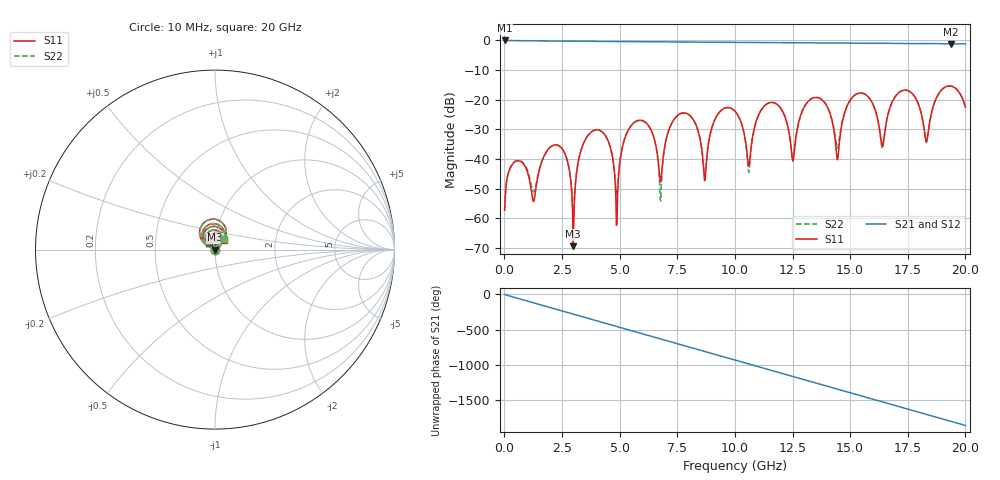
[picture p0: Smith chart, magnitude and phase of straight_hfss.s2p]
! Solver applicability map - 40 x 16 mm symmetric stripline
! Case: straight_hfss
! Sweep: 10 MHz - 20 GHz, 25 MHz step, 4 cores
# GHz S MA R 50.000000
! Terminal data exported
! Port[1] = U1.PAD1.SIG
! Port[2] = U2.PAD1.SIG
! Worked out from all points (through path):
!   801 points, 10 MHz to 20 GHz, reference 50 ohm
!   highest |S21| = -0.01 dB at 10 MHz (marker M1); lowest = -1.2 dB at 19.39 GHz (marker M2)
!   group delay of S21, straight-line fit = 258 ps
!   lowest |S11| = -69.4 dB at 2.985 GHz (marker M3), VSWR 1.00, Z = 50 - j0.0264 ohm
!   |S11| at or under -10 dB: start of sweep to end of sweep
!   |S22| runs from -60.2 to -15.4 dB; largest |S21 - S12| = 1.3e-11
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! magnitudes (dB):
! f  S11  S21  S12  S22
! 10 MHz  -57.3  0.0  0.0  -57.3
! 2.235 GHz  -35.2  -0.2  -0.2  -35.3
! 2.985 GHz  -69.4  -0.3  -0.3  -60.2
! 3.36 GHz  -36.2  -0.3  -0.3  -36.2
! 4.335 GHz  -31.6  -0.3  -0.3  -31.6
! 4.885 GHz  -61.8  -0.4  -0.4  -51.9
! 5.985 GHz  -27.1  -0.4  -0.4  -27.1
! 6.685 GHz  -41.5  -0.5  -0.5  -42.3
! 7.535 GHz  -25.2  -0.5  -0.5  -25.2
! 8.685 GHz  -47.3  -0.6  -0.6  -45.8
! 10.01 GHz  -23.9  -0.7  -0.7  -23.9
! 10.61 GHz  -42.3  -0.7  -0.7  -44.5
! 11.29 GHz  -22.1  -0.7  -0.7  -22.1
! 12.51 GHz  -40.6  -0.8  -0.8  -40.7
! 13.36 GHz  -19.5  -0.8  -0.8  -19.5
! 14.44 GHz  -40.1  -0.9  -0.9  -36.3
! 15.21 GHz  -18.4  -0.9  -0.9  -18.4
! 16.68 GHz  -23.7  -1.0  -1.0  -23.8
! 17.59 GHz  -17.2  -1.1  -1.1  -17.3
! 18.31 GHz  -34.0  -1.0  -1.0  -34.5
! 19.39 GHz  -15.4  -1.2  -1.2  -15.4
! 20 GHz  -22.5  -1.1  -1.1  -22.5
